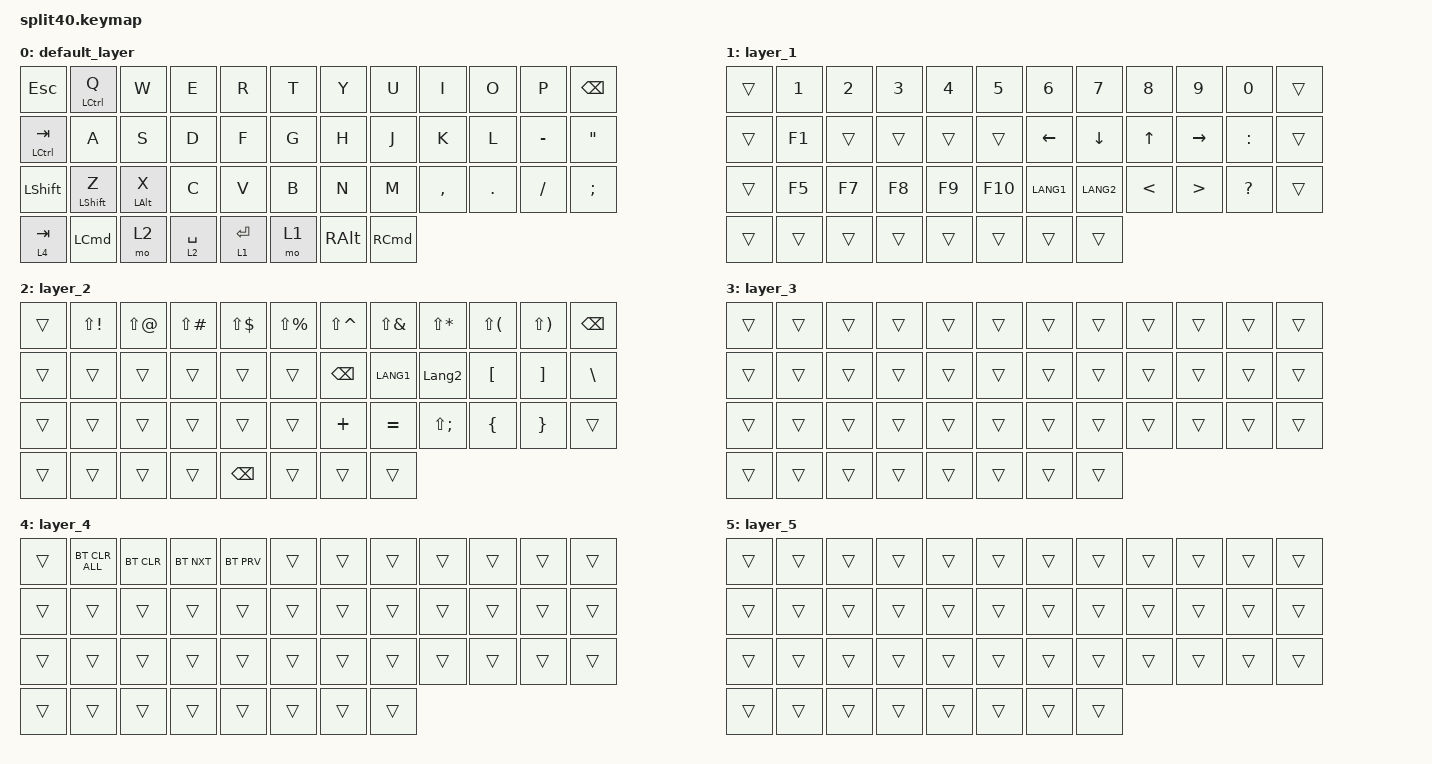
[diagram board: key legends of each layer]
/*
 * Copyright (c) 2022 The ZMK Contributors
 *
 * SPDX-License-Identifier: MIT
 */

#include <behaviors.dtsi>
#include <dt-bindings/zmk/bt.h>
#include <dt-bindings/zmk/keys.h>

/ {
    keymap {
        compatible = "zmk,keymap";

        default_layer {
            bindings = <
&kp ESCAPE      &mt LCTRL Q       &kp W           &kp E        &kp R        &kp T  &kp Y     &kp U              &kp I      &kp O       &kp P      &kp BACKSPACE
&mt LCTRL TAB   &kp A             &kp S           &kp D        &kp F        &kp G  &kp H     &kp J              &kp K      &kp L       &kp MINUS  &kp DOUBLE_QUOTES
&kp LEFT_SHIFT  &mt LEFT_SHIFT Z  &mt LEFT_ALT X  &kp C        &kp V        &kp B  &kp N     &kp M              &kp COMMA  &kp PERIOD  &kp SLASH  &kp SEMI
&lt 4 TAB       &kp LEFT_COMMAND  &mo 2           &lt 2 SPACE  &lt 1 ENTER  &mo 1  &kp RALT  &kp RIGHT_COMMAND
            >;
        };

        layer_1 {
            bindings = <
&trans  &kp N1  &kp N2  &kp N3  &kp N4  &kp N5   &kp N6     &kp N7     &kp N8  &kp N9     &kp N0     &trans
&trans  &kp F1  &trans  &trans  &trans  &trans   &kp LEFT   &kp DOWN   &kp UP  &kp RIGHT  &kp COLON  &trans
&trans  &kp F5  &kp F7  &kp F8  &kp F9  &kp F10  &kp LANG1  &kp LANG2  &kp LT  &kp GT     &kp QMARK  &trans
&trans  &trans  &trans  &trans  &trans  &trans   &trans     &trans
            >;
        };

        layer_2 {
            bindings = <
&trans  &kp LS(EXCL)  &kp LS(AT)  &kp LS(POUND)  &kp LS(DLLR)   &kp LS(PRCNT)  &kp LS(CARET)  &kp LS(AMPS)  &kp LS(STAR)    &kp LS(LPAR)  &kp LS(RPAR)  &kp BSPC
&trans  &trans        &trans      &trans         &trans         &trans         &kp BACKSPACE  &kp LANG1     &kp LANGUAGE_2  &kp LBKT      &kp RBKT      &kp BSLH
&trans  &trans        &trans      &trans         &trans         &trans         &kp PLUS       &kp EQUAL     &kp LS(SEMI)    &kp LBRC      &kp RBRC      &trans
&trans  &trans        &trans      &trans         &kp BACKSPACE  &trans         &trans         &trans
            >;
        };

        layer_3 {
            bindings = <
&trans  &trans  &trans  &trans  &trans  &trans  &trans  &trans  &trans  &trans  &trans  &trans
&trans  &trans  &trans  &trans  &trans  &trans  &trans  &trans  &trans  &trans  &trans  &trans
&trans  &trans  &trans  &trans  &trans  &trans  &trans  &trans  &trans  &trans  &trans  &trans
&trans  &trans  &trans  &trans  &trans  &trans  &trans  &trans
            >;
        };

        layer_4 {
            bindings = <
&trans  &bt BT_CLR_ALL  &bt BT_CLR  &bt BT_NXT  &bt BT_PRV  &trans  &trans  &trans  &trans  &trans  &trans  &trans
&trans  &trans          &trans      &trans      &trans      &trans  &trans  &trans  &trans  &trans  &trans  &trans
&trans  &trans          &trans      &trans      &trans      &trans  &trans  &trans  &trans  &trans  &trans  &trans
&trans  &trans          &trans      &trans      &trans      &trans  &trans  &trans
            >;
        };

        layer_5 {
            bindings = <
&trans  &trans  &trans  &trans  &trans  &trans  &trans  &trans  &trans  &trans  &trans  &trans
&trans  &trans  &trans  &trans  &trans  &trans  &trans  &trans  &trans  &trans  &trans  &trans
&trans  &trans  &trans  &trans  &trans  &trans  &trans  &trans  &trans  &trans  &trans  &trans
&trans  &trans  &trans  &trans  &trans  &trans  &trans  &trans
            >;
        };
    };
};
